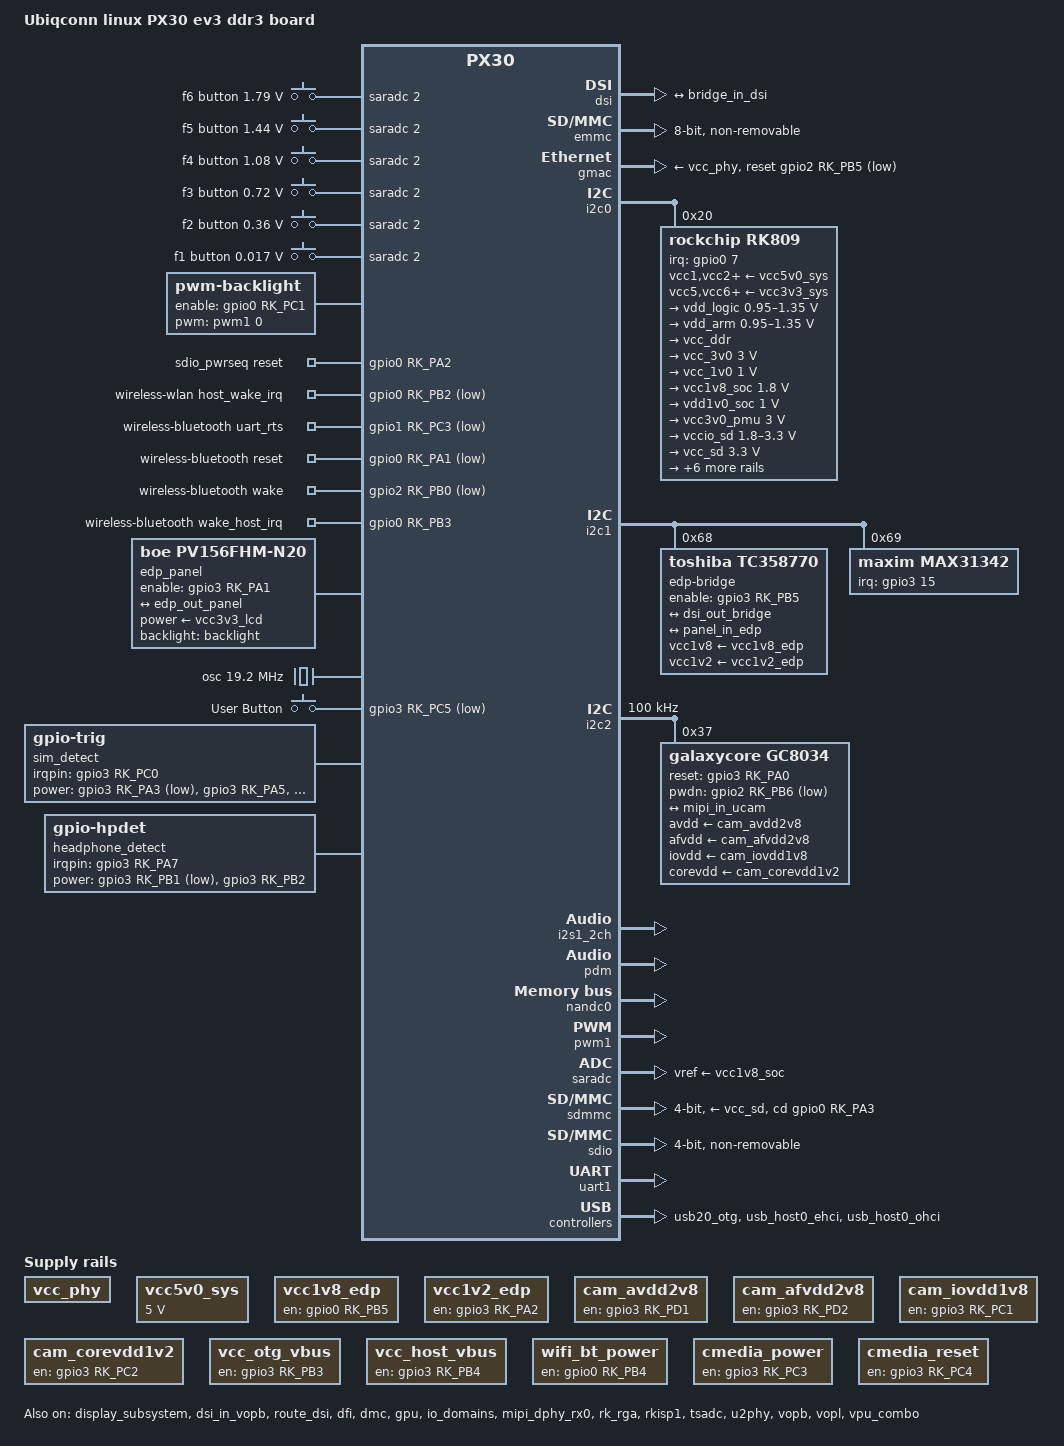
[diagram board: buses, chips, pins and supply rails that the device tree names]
// SPDX-License-Identifier: (GPL-2.0+ OR MIT)
/*
 * Copyright (c) 2018 Fuzhou Rockchip Electronics Co., Ltd
 */

/dts-v1/;
#include <dt-bindings/gpio/gpio.h>
#include <dt-bindings/pinctrl/rockchip.h>
#include <dt-bindings/input/input.h>
#include <dt-bindings/display/drm_mipi_dsi.h>
#include <dt-bindings/sensor-dev.h>
#include "px30.dtsi"
#include "px30-linux.dtsi"

/ {
	model = "Ubiqconn linux PX30 ev3 ddr3 board";
	compatible = "ubiqconn,px30-evb-ddr3-linux", "rockchip,px30";

	adc-keys {
		compatible = "adc-keys";
		io-channels = <&saradc 2>;
		io-channel-names = "buttons";
		poll-interval = <100>;
		keyup-threshold-microvolt = <1800000>;

		f6-key {
			linux,code = <KEY_6>;
			label = "f6 button";
			press-threshold-microvolt = <1790000>;
		};

		f5-key {
			linux,code = <KEY_F5>;
			label = "f5 button";
			press-threshold-microvolt = <1440000>;
		};

		f4-key {
			linux,code = <KEY_F4>;
			label = "f4 button";
			press-threshold-microvolt = <1080000>;
		};

		f3-key {
			linux,code = <KEY_F3>;
			label = "f3 button";
			press-threshold-microvolt = <720000>;
		};

		f2-key {
			linux,code = <KEY_F2>;
			label = "f2 button";
			press-threshold-microvolt = <360000>;
		};

		f1-key {
			linux,code = <KEY_F1>;
			label = "f1 button";
			press-threshold-microvolt = <17000>;
		};
	};

	backlight: backlight {
		compatible = "pwm-backlight";
		pinctrl-names = "default";
		pinctrl-0 = <&bl_en_drv>;
		pwms = <&pwm1 0 100000 0>;
		brightness-levels = <
			  0   1   2   3   4   5   6   7
			  8   9  10  11  12  13  14  15
			 16  17  18  19  20  21  22  23
			 24  25  26  27  28  29  30  31
			 32  33  34  35  36  37  38  39
			 40  41  42  43  44  45  46  47
			 48  49  50  51  52  53  54  55
			 56  57  58  59  60  61  62  63
			 64  65  66  67  68  69  70  71
			 72  73  74  75  76  77  78  79
			 80  81  82  83  84  85  86  87
			 88  89  90  91  92  93  94  95
			 96  97  98  99 100 101 102 103
			104 105 106 107 108 109 110 111
			112 113 114 115 116 117 118 119
			120 121 122 123 124 125 126 127
			128 129 130 131 132 133 134 135
			136 137 138 139 140 141 142 143
			144 145 146 147 148 149 150 151
			152 153 154 155 156 157 158 159
			160 161 162 163 164 165 166 167
			168 169 170 171 172 173 174 175
			176 177 178 179 180 181 182 183
			184 185 186 187 188 189 190 191
			192 193 194 195 196 197 198 199
			200 201 202 203 204 205 206 207
			208 209 210 211 212 213 214 215
			216 217 218 219 220 221 222 223
			224 225 226 227 228 229 230 231
			232 233 234 235 236 237 238 239
			240 241 242 243 244 245 246 247
			248 249 250 251 252 253 254 255>;
		default-brightness-level = <200>;
		enable-gpios = <&gpio0 RK_PC1 GPIO_ACTIVE_HIGH>;
	};

	charge-animation {
		compatible = "rockchip,uboot-charge";
		rockchip,uboot-charge-on = <0>;
		rockchip,android-charge-on = <1>;
		rockchip,uboot-low-power-voltage = <3500>;
		rockchip,screen-on-voltage = <3600>;
		status = "okay";
	};

	rk809-sound {
		compatible = "simple-audio-card";
		simple-audio-card,format = "i2s";
		simple-audio-card,name = "rockchip,rk809-codec";
		simple-audio-card,mclk-fs = <256>;
		simple-audio-card,widgets =
			"Microphone", "Mic Jack",
			"Headphone", "Headphone Jack";
		simple-audio-card,routing =
			"Mic Jack", "MICBIAS1",
			"IN1P", "Mic Jack",
			"Headphone Jack", "HPOL",
			"Headphone Jack", "HPOR";
	/*	simple-audio-card,hp-det-gpio = <&gpio3 RK_PA7 GPIO_ACTIVE_HIGH>;  
                pinctrl-names = "default";
                pinctrl-0 = <&hp_det>;*/
		simple-audio-card,dai-link@0 {
			format = "i2s";
			cpu {
				sound-dai = <&i2s1_2ch>;
			};
			codec {
				sound-dai = <&rk809_codec 0>;
			};
		};
		simple-audio-card,dai-link@1 {
			format = "pdm";
			cpu {
				sound-dai = <&pdm>;
			};
			codec {
				sound-dai = <&rk809_codec 1>;
			};
		};
	};
/*
	rk_headset {
		compatible = "rockchip_headset";
		headset_gpio = <&gpio3 RK_PA7 GPIO_ACTIVE_LOW>;	
		pinctrl-names = "default";
		pinctrl-0 = <&hp_det>;
		io-channels = <&saradc 1>;
	};
*/
	sdio_pwrseq: sdio-pwrseq {
		compatible = "mmc-pwrseq-simple";
		/*clocks = <&rk809 1>;*/
		/*clock-names = "ext_clock";*/
		pinctrl-names = "default";
		pinctrl-0 = <&wifi_enable_h>;

		/*
		 * On the module itself this is one of these (depending
		 * on the actual card populated):
		 * - SDIO_RESET_L_WL_REG_ON
		 * - PDN (power down when low)
		 */
		reset-gpios = <&gpio0 RK_PA2 GPIO_ACTIVE_HIGH>; /* GPIO3_A4 */
	};

	vcc_phy: vcc-phy-regulator {
		compatible = "regulator-fixed";
		regulator-name = "vcc_phy";
		regulator-always-on;
		regulator-boot-on;
	};

	vcc5v0_sys: vccsys {
		compatible = "regulator-fixed";
		regulator-name = "vcc5v0_sys";
		regulator-always-on;
		regulator-boot-on;
		regulator-min-microvolt = <5000000>;
		regulator-max-microvolt = <5000000>;
	};

	vcc1v8_edp: vcc1v8-edp-regulator {
		compatible = "regulator-fixed";
		enable-active-high;
		gpio = <&gpio0 RK_PB5 GPIO_ACTIVE_HIGH>;
		pinctrl-names = "default";
		pinctrl-0 = <&edp_vcc1v8_drv>;
		regulator-name = "vcc1v8_edp";
	/*	regulator-always-on; 
		regulator-boot-on; */
	};

	vcc1v2_edp: vcc1v2-edp-regulator {
		compatible = "regulator-fixed";
		enable-active-high;
		gpio = <&gpio3 RK_PA2 GPIO_ACTIVE_HIGH>;
		pinctrl-names = "default";
		pinctrl-0 = <&edp_vcc1v2_drv>;
		regulator-name = "vcc1v2_edp";
	/*	regulator-always-on;
		regulator-boot-on; */
	};

	cam_avdd2v8: cam-avdd2v8-regulator {
		compatible = "regulator-fixed";
		enable-active-high;
		gpio = <&gpio3 RK_PD1 GPIO_ACTIVE_HIGH>;
		pinctrl-names = "default";
		pinctrl-0 = <&cam_avdd2v8_drv>;
		regulator-name = "cam_avdd2v8";
	};

	cam_afvdd2v8: cam-afvdd2v8-regulator {
		compatible = "regulator-fixed";
		enable-active-high;
		gpio = <&gpio3 RK_PD2 GPIO_ACTIVE_HIGH>;
		pinctrl-names = "default";
		pinctrl-0 = <&cam_afvdd2v8_drv>;
		regulator-name = "cam_afvdd2v8";
	};

	cam_iovdd1v8: cam-iovdd1v8-regulator {
		compatible = "regulator-fixed";
		enable-active-high;
		gpio = <&gpio3 RK_PC1 GPIO_ACTIVE_HIGH>;
		pinctrl-names = "default";
		pinctrl-0 = <&cam_iovdd1v8_drv>;
		regulator-name = "cam_iovdd1v8";
	};

	cam_corevdd1v2: cam-corevdd1v2-regulator {
		compatible = "regulator-fixed";
		enable-active-high;
		gpio = <&gpio3 RK_PC2 GPIO_ACTIVE_HIGH>;
		pinctrl-names = "default";
		pinctrl-0 = <&cam_corevdd1v2_drv>;
		regulator-name = "cam_corevdd1v2";
	};

	vcc_otg_vbus: otg-vbus-regulator {
		compatible = "regulator-fixed";
		enable-active-high;
		gpio = <&gpio3 RK_PB3 GPIO_ACTIVE_HIGH>;
		pinctrl-names = "default";
		pinctrl-0 = <&otg_vbus_drv>;
		regulator-name = "otg_vbus";
	};

	vcc_host_vbus: host-vbus-regulator {
		compatible = "regulator-fixed";
		enable-active-high;
		gpio = <&gpio3 RK_PB4 GPIO_ACTIVE_HIGH>;
		pinctrl-names = "default";
		pinctrl-0 = <&host_vbus_drv>;
		regulator-name = "host_vbus";
		regulator-always-on;
		regulator-boot-on;
	};

	wifi_bt_power: wifi-bt-regulator {
		compatible = "regulator-fixed";
		enable-active-high;
		gpio = <&gpio0 RK_PB4 GPIO_ACTIVE_HIGH>;
		pinctrl-names = "default";
		pinctrl-0 = <&wifi_bt_drv>;
		regulator-name = "wifi_bt_power";
		regulator-always-on;
		regulator-boot-on;
	};

	cmedia_power: cmedia-regulator {
		compatible = "regulator-fixed";
		enable-active-high;
		gpio = <&gpio3 RK_PC3 GPIO_ACTIVE_HIGH>;
		pinctrl-names = "default";
		pinctrl-0 = <&cmedia_drv>;
		regulator-name = "cmedia_power";
		regulator-always-on;
		regulator-boot-on;
		startup-delay-us = <200000>;
	};

	cmedia_reset: cmedia-rst-regulator {
		compatible = "regulator-fixed";
		enable-active-high;
		gpio = <&gpio3 RK_PC4 GPIO_ACTIVE_HIGH>;
		pinctrl-names = "default";
		pinctrl-0 = <&cmedia_rst_drv>;
		regulator-name = "cmedia_reset";
		regulator-always-on;
		regulator-boot-on;
		startup-delay-us = <200000>;
	};

	wireless-wlan {
		compatible = "wlan-platdata";
		wifi_chip_type = "ap6398sv";   
		WIFI,host_wake_irq = <&gpio0 RK_PB2 GPIO_ACTIVE_LOW>;
		status = "okay";
	};

	wireless-bluetooth {
		compatible = "bluetooth-platdata";
		clocks = <&rk809 1>;
		clock-names = "ext_clock";
		uart_rts_gpios = <&gpio1 RK_PC3 GPIO_ACTIVE_LOW>;
		pinctrl-names = "default","rts_gpio";
		pinctrl-0 = <&uart1_rts>;
		pinctrl-1 = <&uart1_rts_gpio>;
		BT,reset_gpio = <&gpio0 RK_PA1 GPIO_ACTIVE_LOW>;
		BT,wake_gpio = <&gpio2 RK_PB0 GPIO_ACTIVE_LOW>;
		BT,wake_host_irq = <&gpio0 RK_PB3 GPIO_ACTIVE_HIGH>;
		status = "okay";
	};

	edp_panel: edp-panel {
		compatible = "boe,pv156fhm-n20", "simple-panel";
		backlight = <&backlight>;
		status = "okay";

		power-supply = <&vcc3v3_lcd>;

		prepare-delay-ms = <2>;
		reset-delay-ms = <1>;
		init-delay-ms = <20>;
		enable-delay-ms = <120>;
		disable-delay-ms = <50>;
		unprepare-delay-ms = <20>;

                width-mm = <121>;
                height-mm = <68>;
		enable-gpios= <&gpio3 RK_PA1 GPIO_ACTIVE_HIGH>;  
		pinctrl-names = "default";
		pinctrl-0 = <&lcd_panel_reset>; 

                display-timings {
                        native-mode = <&timing0>;
 
                        timing0: timing0 {
	          		clock-frequency = <139200000>;   
                                hactive = <1920>;
                                vactive = <1080>;
                                hfront-porch = <48>;
                                hsync-len = <32>;
                                hback-porch = <100>;
                                vfront-porch = <3>;
                                vsync-len = <6>;
                                vback-porch = <31>;
                                hsync-active = <1>;
                                vsync-active = <1>;
				de-active = <0>;
				pixelclk-active = <0>;
                        };
                };

		ports {
			panel_in_edp: endpoint {
				remote-endpoint = <&edp_out_panel>;
			};
		};
	};

	osc: oscillator {
      		compatible = "fixed-clock";
	        #clock-cells = <1>;
	        clock-frequency  = <19200000>;
	        clock-output-names = "osc";
		status = "okay";
	};

        gpio-keys {
                compatible = "gpio-keys";
                pinctrl-names = "default";
                pinctrl-0 = <&sw_bl_drv>;

                user-button {
                        label = "User Button";
                        gpios = <&gpio3 RK_PC5 GPIO_ACTIVE_LOW>;
                        linux,code = <KEY_POWER>;
                };
        };

	sim_detect {
                compatible = "gpio-trig";
                pinctrl-names = "default";
                pinctrl-0 = <&wwan_drv>;
		irqpin-gpios = <&gpio3 RK_PC0 GPIO_ACTIVE_HIGH>;
		power-gpios = <&gpio3 RK_PA3 GPIO_ACTIVE_LOW>,
				<&gpio3 RK_PA5 GPIO_ACTIVE_HIGH>, 
				<&gpio3 RK_PB0 GPIO_ACTIVE_LOW>;
		on_timing = <100 100 100>;
		off_timing = <100 100 100>;
	};

	headphone_detect {
                compatible = "gpio-hpdet";
                pinctrl-names = "default";
                pinctrl-0 = <&hp_det>;
		irqpin-gpios = <&gpio3 RK_PA7 GPIO_ACTIVE_HIGH>;
	/*	invert-interrupt; */
		power-gpios = <&gpio3 RK_PB1 GPIO_ACTIVE_LOW>,
				<&gpio3 RK_PB2 GPIO_ACTIVE_HIGH>; 
		on_timing = <100 100>;
		off_timing = <100 100>;
		play_on = <0 1>;
	};

};

&display_subsystem {
	status = "okay";
};

&dsi {
	status = "okay";

	ports {

		port@1 {
			reg = <1>;

			dsi_out_bridge: endpoint {
				remote-endpoint = <&bridge_in_dsi>;
			};
		};
	};

};

&dsi_in_vopb {
	status = "okay";
};

&dsi_in_vopl {
	status = "disabled";
};

&route_dsi {
	connect = <&vopb_out_dsi>;
	status = "okay";
};

&bus_apll {
	bus-supply = <&vdd_logic>;
	status = "okay";
};

&cpu0 {
	cpu-supply = <&vdd_arm>;
};

&dfi {
	status = "okay";
};

&dmc {
	center-supply = <&vdd_logic>;
	status = "okay";  
};

&emmc {
	bus-width = <8>;
	cap-mmc-highspeed;
	mmc-hs200-1_8v;
	supports-emmc;
	disable-wp;
	non-removable;
	num-slots = <1>;
	status = "okay";
};

&gmac {
	phy-supply = <&vcc_phy>;
	clock_in_out = "input";
	snps,reset-gpio = <&gpio2 RK_PB5 GPIO_ACTIVE_LOW>;
	snps,reset-active-low;
	snps,reset-delays-us = <0 50000 50000>;
	status = "okay";
};

&gpu {
	mali-supply = <&vdd_logic>;
	status = "okay";
};

&i2c0 {
	status = "okay";

	rk809: pmic@20 {
		compatible = "rockchip,rk809";
		reg = <0x20>;
		interrupt-parent = <&gpio0>;
		interrupts = <7 IRQ_TYPE_LEVEL_LOW>;
		pinctrl-names = "default", "pmic-sleep",
				"pmic-power-off", "pmic-reset";
		pinctrl-0 = <&pmic_int>;
		pinctrl-1 = <&soc_slppin_slp>, <&rk817_slppin_slp>;
		pinctrl-2 = <&soc_slppin_gpio>, <&rk817_slppin_pwrdn>;
		pinctrl-3 = <&soc_slppin_rst>, <&rk817_slppin_rst>;
		rockchip,system-power-controller;
		wakeup-source;
		#clock-cells = <1>;
		clock-output-names = "rk808-clkout1", "rk808-clkout2";
		//fb-inner-reg-idxs = <2>;
		/* 1: rst regs (default in codes), 0: rst the pmic */
		pmic-reset-func = <1>;

		vcc1-supply = <&vcc5v0_sys>;
		vcc2-supply = <&vcc5v0_sys>;
		vcc3-supply = <&vcc5v0_sys>;
		vcc4-supply = <&vcc5v0_sys>;
		vcc5-supply = <&vcc3v3_sys>;
		vcc6-supply = <&vcc3v3_sys>;
		vcc7-supply = <&vcc3v3_sys>;
		vcc8-supply = <&vcc3v3_sys>;
		vcc9-supply = <&vcc5v0_sys>;

		pwrkey {
			status = "okay";
		};

		pinctrl_rk8xx: pinctrl_rk8xx {
			gpio-controller;
			#gpio-cells = <2>;

			rk817_slppin_null: rk817_slppin_null {
				pins = "gpio_slp";
				function = "pin_fun0";
			};

			rk817_slppin_slp: rk817_slppin_slp {
				pins = "gpio_slp";
				function = "pin_fun1";
			};

			rk817_slppin_pwrdn: rk817_slppin_pwrdn {
				pins = "gpio_slp";
				function = "pin_fun2";
			};

			rk817_slppin_rst: rk817_slppin_rst {
				pins = "gpio_slp";
				function = "pin_fun3";
			};
		};

		regulators {
			vdd_logic: DCDC_REG1 {
				regulator-always-on;
				regulator-boot-on;
				regulator-min-microvolt = <950000>;
				regulator-max-microvolt = <1350000>;
				regulator-ramp-delay = <6001>;
				regulator-initial-mode = <0x2>;
				regulator-name = "vdd_logic";
				regulator-state-mem {
					regulator-on-in-suspend;
					regulator-suspend-microvolt = <950000>;
				};
			};

			vdd_arm: DCDC_REG2 {
				regulator-always-on;
				regulator-boot-on;
				regulator-min-microvolt = <950000>;
				regulator-max-microvolt = <1350000>;
				regulator-ramp-delay = <6001>;
				regulator-initial-mode = <0x2>;
				regulator-name = "vdd_arm";
				regulator-state-mem {
					regulator-off-in-suspend;
					regulator-suspend-microvolt = <950000>;
				};
			};

			vcc_ddr: DCDC_REG3 {
				regulator-always-on;
				regulator-boot-on;
				regulator-name = "vcc_ddr";
				regulator-initial-mode = <0x2>;
				regulator-state-mem {
					regulator-on-in-suspend;
				};
			};

			vcc_3v0: DCDC_REG4 {
				regulator-always-on;
				regulator-boot-on;
				regulator-min-microvolt = <3000000>;
				regulator-max-microvolt = <3000000>;
				regulator-initial-mode = <0x2>;
				regulator-name = "vcc_3v0";
				regulator-state-mem {
					regulator-on-in-suspend;
					regulator-suspend-microvolt = <3000000>;
				};
			};

			vcc_1v0: LDO_REG1 {
				regulator-always-on;
				regulator-boot-on;
				regulator-min-microvolt = <1000000>;
				regulator-max-microvolt = <1000000>;
				regulator-name = "vcc_1v0";
				regulator-state-mem {
					regulator-on-in-suspend;
					regulator-suspend-microvolt = <1000000>;
				};
			};

			vcc1v8_soc: LDO_REG2 {
				regulator-always-on;
				regulator-boot-on;
				regulator-min-microvolt = <1800000>;
				regulator-max-microvolt = <1800000>;

				regulator-name = "vcc1v8_soc";
				regulator-state-mem {
					regulator-on-in-suspend;
					regulator-suspend-microvolt = <1800000>;
				};
			};

			vdd1v0_soc: LDO_REG3 {
				regulator-always-on;
				regulator-boot-on;
				regulator-min-microvolt = <1000000>;
				regulator-max-microvolt = <1000000>;

				regulator-name = "vcc1v0_soc";
				regulator-state-mem {
					regulator-on-in-suspend;
					regulator-suspend-microvolt = <1000000>;
				};
			};

			vcc3v0_pmu: LDO_REG4 {
				regulator-always-on;
				regulator-boot-on;
				regulator-min-microvolt = <3000000>;
				regulator-max-microvolt = <3000000>;

				regulator-name = "vcc3v0_pmu";
				regulator-state-mem {
					regulator-on-in-suspend;
					regulator-suspend-microvolt = <3000000>;

				};
			};

			vccio_sd: LDO_REG5 {
				regulator-always-on;
				regulator-boot-on;
				regulator-min-microvolt = <1800000>;
				regulator-max-microvolt = <3300000>;

				regulator-name = "vccio_sd";
				regulator-state-mem {
					regulator-on-in-suspend;
					regulator-suspend-microvolt = <3300000>;
				};
			};

			vcc_sd: LDO_REG6 {
				regulator-min-microvolt = <3300000>;
				regulator-max-microvolt = <3300000>;
				regulator-boot-on;

				regulator-name = "vcc_sd";
				regulator-state-mem {
					regulator-on-in-suspend;
					regulator-suspend-microvolt = <3300000>;

				};
			};

			vcc2v8_dvp: LDO_REG7 {
				regulator-boot-on;
				regulator-min-microvolt = <2800000>;
				regulator-max-microvolt = <2800000>;

				regulator-name = "vcc2v8_dvp";
				regulator-state-mem {
					regulator-off-in-suspend;
					regulator-suspend-microvolt = <2800000>;
				};
			};

			vcc1v8_dvp: LDO_REG8 {
				regulator-boot-on;
				regulator-min-microvolt = <1800000>;
				regulator-max-microvolt = <1800000>;

				regulator-name = "vcc1v8_dvp";
				regulator-state-mem {
					regulator-on-in-suspend;
					regulator-suspend-microvolt = <1800000>;
				};
			};

			vdd1v5_dvp: LDO_REG9 {
				regulator-boot-on;
				regulator-min-microvolt = <1500000>;
				regulator-max-microvolt = <1500000>;

				regulator-name = "vdd1v5_dvp";
				regulator-state-mem {
					regulator-off-in-suspend;
					regulator-suspend-microvolt = <1500000>;
				};
			};

			vcc3v3_sys: DCDC_REG5 {
				regulator-always-on;
				regulator-boot-on;
				regulator-min-microvolt = <3300000>;
				regulator-max-microvolt = <3300000>;
				regulator-name = "vcc3v3_sys";
				regulator-state-mem {
					regulator-on-in-suspend;
					regulator-suspend-microvolt = <3300000>;
				};
			};

			vcc5v0_host: SWITCH_REG1 {
				regulator-always-on;
				regulator-boot-on;
				regulator-name = "vcc5v0_host";
			};

			vcc3v3_lcd: SWITCH_REG2 {
				regulator-boot-on;
				regulator-name = "vcc3v3_lcd";
			};
		};

		rk809_codec: codec {
			#sound-dai-cells = <1>;
			compatible = "rockchip,rk809-codec", "rockchip,rk817-codec";
			clocks = <&cru SCLK_I2S1_OUT>;
			clock-names = "mclk";
			pinctrl-names = "default";
			pinctrl-0 = <&i2s1_2ch_mclk>;
			hp-volume = <3>;
			spk-volume = <3>;
			capture-volume = <3>;
			status = "okay";
		};
	};
};

&i2c1 {
	status = "okay";

	edp-bridge@68 {
        	compatible = "toshiba,tc358770";
	        #address-cells = <1>;
	        #size-cells = <0>;
	        reg = <0x68>;

	        enable-gpios = <&gpio3 RK_PB5 GPIO_ACTIVE_HIGH>;

		clocks = <&osc 0>;
		clock-names = "refclk";

		vcc1v8-supply = <&vcc1v8_edp>;
		vcc1v2-supply = <&vcc1v2_edp>;
		pinctrl-names = "default";
		pinctrl-0 = <&edp_enable_drv>; 

	        ports {
        	        #address-cells = <1>;
	                #size-cells = <0>;

        	        port@0 {
                	        reg = <0>;

                        	bridge_in_dsi: endpoint {
	                                remote-endpoint = <&dsi_out_bridge>;
        	                };
	                };

	                port@1 {
        	                reg = <1>;

                	        edp_out_panel: endpoint {
                        	        data-lanes = <0 1>;
	                                lane-polarities = <0 1>;
        	                        remote-endpoint = <&panel_in_edp>;
                	        };
	                };
       		 };
	};

	max31342: max31342@69 {
		compatible = "maxim,max31342";
		reg = <0x69>;
		interrupt-parent = <&gpio3>;
		interrupts = <15 IRQ_TYPE_LEVEL_LOW>;
		pinctrl-names = "default";
		pinctrl-0 = <&rtc_int_drv>;
		status = "okay";
       };
};

&i2c2 {
	status = "okay";

	clock-frequency = <100000>;

	/* These are relatively safe rise/fall times; TODO: measure */
	i2c-scl-falling-time-ns = <50>;
	i2c-scl-rising-time-ns = <300>;

	gc8034: gc8034@37 {
		compatible = "galaxycore,gc8034";
		status = "okay";
		reg = <0x37>;
		clocks = <&cru SCLK_CIF_OUT>;
		clock-names = "xvclk";

		avdd-supply = <&cam_avdd2v8>;
		afvdd-supply = <&cam_afvdd2v8>;
		iovdd-supply = <&cam_iovdd1v8>;
		corevdd-supply = <&cam_corevdd1v2>;

		//conflict with csi-ctl-gpios
		//reset pin control by hardware,used this pin switch to mipi input
		//1->mipi input, 0->hdmi in
		reset-gpios = <&gpio3 RK_PA0 GPIO_ACTIVE_HIGH>; 
		pwdn-gpios = <&gpio2 RK_PB6 GPIO_ACTIVE_LOW>;
		pinctrl-names = "default";
		pinctrl-0 = <&cif_clkout_m0>;
		rockchip,camera-module-index = <0>;
		rockchip,camera-module-facing = "back";
		rockchip,camera-module-name = "CMK-CT1841-FK3";
	/*	rockchip,camera-module-name = "RK-CMK-8M-2-v1"; */
		rockchip,camera-module-lens-name = "CK8401";
		port {
			ucam_out: endpoint {
				remote-endpoint = <&mipi_in_ucam>;
				data-lanes = <1 2 3 4>;
			};
		};
	};
};

&i2s1_2ch {
	status = "okay";
	#sound-dai-cells = <0>;
};

&pdm {
	status = "okay";
	#sound-dai-cells = <0>;
	pinctrl-names = "default";
	pinctrl-0 = <&pdm_clk0m0
		     &pdm_sdi0m0
		     &pdm_clk1
		     &pdm_sdi1>;
};
&io_domains {
	status = "okay";

	vccio1-supply = <&vcc1v8_soc>;
	vccio2-supply = <&vccio_sd>;
	vccio3-supply = <&vcc_3v0>;
	vccio4-supply = <&vcc3v0_pmu>;
	vccio5-supply = <&vcc_3v0>;
};

&isp_mmu {
	status = "okay";
};

&mipi_dphy_rx0 {
	status = "okay";

	ports {
		#address-cells = <1>;
		#size-cells = <0>;

		port@0 {
			reg = <0>;
			#address-cells = <1>;
			#size-cells = <0>;

			mipi_in_ucam: endpoint@1 {
				reg = <1>;
				remote-endpoint = <&ucam_out>;
				data-lanes = <1 2 3 4>;
			};
		};

		port@1 {
			reg = <1>;
			#address-cells = <1>;
			#size-cells = <0>;

			dphy_rx0_out: endpoint@0 {
				reg = <0>;
				remote-endpoint = <&isp0_mipi_in>;
			};
		};
	};
};

&nandc0 {
	status = "okay";
};

&pmu_io_domains {
	status = "okay";

	pmuio1-supply = <&vcc3v0_pmu>;
	pmuio2-supply = <&vcc3v0_pmu>;
};

&pwm1 {
	status = "okay";
};

&rk_rga {
	status = "okay";
};

&rkisp1 {
	status = "okay";

	port {
		#address-cells = <1>;
		#size-cells = <0>;

		isp0_mipi_in: endpoint@0 {
			reg = <0>;
			remote-endpoint = <&dphy_rx0_out>;
		};
	};
};

&rockchip_suspend {
	status = "okay";
	rockchip,sleep-debug-en = <1>;
};

&saradc {
	status = "okay";
	vref-supply = <&vcc1v8_soc>;
};

&sdmmc {
	bus-width = <4>;
	cap-mmc-highspeed;
	cap-sd-highspeed;
	supports-sd;
	card-detect-delay = <800>;
	ignore-pm-notify;
	cd-gpios = <&gpio0 RK_PA3 GPIO_ACTIVE_HIGH>; 
	sd-uhs-sdr12;
	sd-uhs-sdr25;
	sd-uhs-sdr50;
	sd-uhs-sdr104;
	vqmmc-supply = <&vccio_sd>;
	vmmc-supply = <&vcc_sd>;
	status = "okay";
};

&sdio {
	bus-width = <4>; 
	cap-sd-highspeed;
	supports-sdio;
	ignore-pm-notify;
	keep-power-in-suspend;
	non-removable;
	mmc-pwrseq = <&sdio_pwrseq>;
	sd-uhs-sdr104; 
	status = "okay";
};

&tsadc {
	pinctrl-names = "gpio", "otpout";
	pinctrl-0 = <&tsadc_otp_gpio>;
	pinctrl-1 = <&tsadc_otp_out>;
	status = "okay";
};

&uart1 {
	pinctrl-names = "default";
	pinctrl-0 = <&uart1_xfer &uart1_cts>;
	status = "okay";
};

&u2phy {
	status = "okay";

	u2phy_host: host-port {
		status = "okay";
	};

	u2phy_otg: otg-port {
		vbus-supply = <&vcc_otg_vbus>;
		status = "okay";
	};
};

&usb20_otg {
	status = "okay";
};

&usb_host0_ehci {
	status = "okay";
};

&usb_host0_ohci {
	status = "okay";
};

&vopb {
	status = "okay";
};

&vopb_mmu {
	status = "okay";
};

&vopl {
	status = "okay";
};

&vopl_mmu {
	status = "okay";
};

&vpu_combo {
	status = "okay";
};

&pinctrl {
/*	
	pinctrl-names = "default";
	pinctrl-0 = <&pinctrl_hog>;

	gerneral_setting {
		pinctrl_hog: hoggrp {
			rockchip,pins = 
				<3 RK_PA3 RK_FUNC_GPIO &pcfg_pull_none>,	//W_DISABLE
				<3 RK_PA5 RK_FUNC_GPIO &pcfg_pull_none>,	//WWAN_WAKE
				<3 RK_PA6 RK_FUNC_GPIO &pcfg_pull_none>,	//WWAN_PWR_ON
				<3 RK_PB0 RK_FUNC_GPIO &pcfg_pull_none>,	//WWAN_RST
				<3 RK_PC0 RK_FUNC_GPIO &pcfg_pull_none>;	//SIM_ON
		};
	};
*/
	lcd-panel {
		lcd_panel_reset: lcd-panel-reset {
			rockchip,pins = <3 RK_PA1 RK_FUNC_GPIO &pcfg_pull_down>; 
		};

		edp_vcc1v2_drv: edp-vcc1v2-drv {
			rockchip,pins = <3 RK_PA2 RK_FUNC_GPIO &pcfg_pull_down>;
		};

		edp_vcc1v8_drv: edp-vcc1v8-drv {
			rockchip,pins = <0 RK_PB5 RK_FUNC_GPIO &pcfg_pull_down>;
		};

		bl_en_drv: bl-en-drv {
			rockchip,pins = <0 RK_PC1 RK_FUNC_GPIO &pcfg_pull_down>;
		};

		edp_enable_drv: edp-enable-drv {
			rockchip,pins = <3 RK_PB5 RK_FUNC_GPIO &pcfg_pull_down>;
		};
	};

	wifi-bt {
		wifi_bt_drv: wifi-bt-drv{
			rockchip,pins = 
				<0 RK_PB4 RK_FUNC_GPIO &pcfg_pull_none>,
				<0 RK_PB2 RK_FUNC_GPIO &pcfg_pull_none>,
				<0 RK_PB3 RK_FUNC_GPIO &pcfg_pull_none>;
		};
	};

	wwan_setting {
		wwan_drv: wwan-drv{
			rockchip,pins = 
				<3 RK_PA3 RK_FUNC_GPIO &pcfg_pull_none>,
				<3 RK_PA5 RK_FUNC_GPIO &pcfg_pull_none>,
				<3 RK_PA6 RK_FUNC_GPIO &pcfg_pull_none>,
				<3 RK_PB0 RK_FUNC_GPIO &pcfg_pull_none>,
				<3 RK_PC0 RK_FUNC_GPIO &pcfg_pull_none>;
		};
	};

	camera {
		cam_avdd2v8_drv: cam-avdd2v8-drv {
			rockchip,pins = <3 RK_PD1 RK_FUNC_GPIO &pcfg_pull_none>;
		};

		cam_afvdd2v8_drv: cam-afvdd2v8-drv {
			rockchip,pins = <3 RK_PD2 RK_FUNC_GPIO &pcfg_pull_none>;
		};

		cam_iovdd1v8_drv: cam-iovdd1v8-drv {
			rockchip,pins = <3 RK_PC1 RK_FUNC_GPIO &pcfg_pull_none>;
		};

		cam_corevdd1v2_drv: cam-corevdd1v2-drv {
			rockchip,pins = <3 RK_PC2 RK_FUNC_GPIO &pcfg_pull_none>;
		};
	};

	audio {
		hp_det: hp-det {
			rockchip,pins = <3 RK_PB1 RK_FUNC_GPIO &pcfg_pull_none>,
					<3 RK_PB2 RK_FUNC_GPIO &pcfg_pull_none>,
					<3 RK_PA7 RK_FUNC_GPIO &pcfg_pull_down>;
		};

		cmedia_drv: cmedia-drv {
			rockchip,pins = <3 RK_PC3 RK_FUNC_GPIO &pcfg_pull_none>;
		};

		cmedia_rst_drv: cmedia-rst-drv {
			rockchip,pins = <3 RK_PC4 RK_FUNC_GPIO &pcfg_pull_none>;
		};
	};

	usbvbus {
		otg_vbus_drv: otg-vbus-drv {
			rockchip,pins = <3 RK_PB3 RK_FUNC_GPIO &pcfg_pull_none>;
		};

		host_vbus_drv: host-vbus-drv {
			rockchip,pins = <3 RK_PB4 RK_FUNC_GPIO &pcfg_pull_none>;
		};
	};

	pmic {
		pmic_int: pmic_int {
			rockchip,pins =
				<0 RK_PA7 RK_FUNC_GPIO &pcfg_pull_up>;
		};

		soc_slppin_gpio: soc_slppin_gpio {
			rockchip,pins =
				<0 RK_PA4 RK_FUNC_GPIO &pcfg_output_low>;
		};

		soc_slppin_slp: soc_slppin_slp {
			rockchip,pins =
				<0 RK_PA4 RK_FUNC_1 &pcfg_pull_none>;
		};

		soc_slppin_rst: soc_slppin_rst {
			rockchip,pins =
				<0 RK_PA4 RK_FUNC_2 &pcfg_pull_none>;
		};
	};

	rtc {
		rtc_int_drv: rtc-int-drv {
			rockchip,pins =
				<3 RK_PB7 RK_FUNC_GPIO &pcfg_pull_none>;
		};
	};

	sdio-pwrseq {
		wifi_enable_h: wifi-enable-h {
			rockchip,pins = <0 RK_PA2 RK_FUNC_GPIO &pcfg_pull_none>;
		};
	};

	button {
		sw_bl_drv: sw-bl-drv {
			rockchip,pins = <3 RK_PC5 RK_FUNC_GPIO &pcfg_pull_none>;
		};
	};

};

/* DON'T PUT ANYTHING BELOW HERE.  PUT IT ABOVE PINCTRL */
/* DON'T PUT ANYTHING BELOW HERE.  PUT IT ABOVE PINCTRL */
/* DON'T PUT ANYTHING BELOW HERE.  PUT IT ABOVE PINCTRL */

